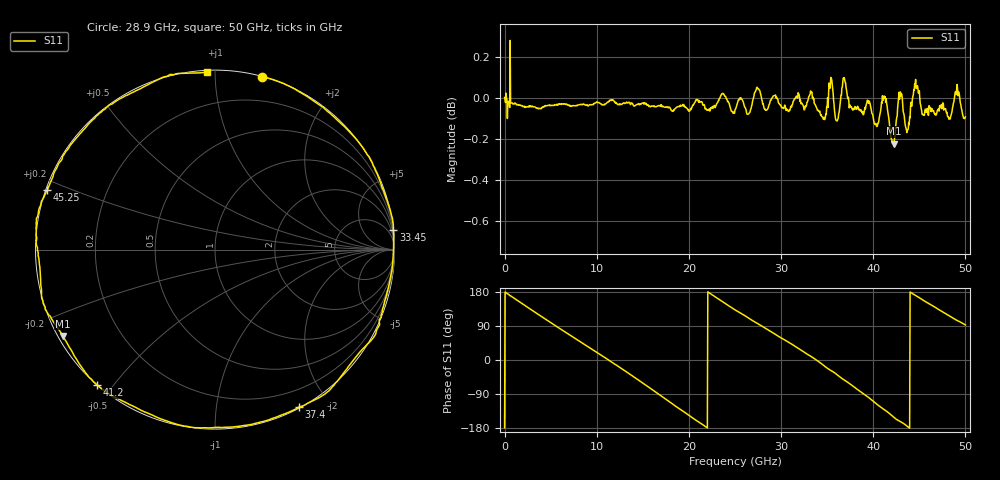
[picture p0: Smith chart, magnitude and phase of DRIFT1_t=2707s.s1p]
!Created with skrf (http://scikit-rf.org).
# Hz S RI R 50.0
!freq ReS11 ImS11
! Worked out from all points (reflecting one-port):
!   1001 points, 300 kHz to 50 GHz, reference 50 ohm
!   lowest |S11| = -0.2 dB at 42.2 GHz (marker M1), VSWR 77.89, Z = 0.687 - j13.2 ohm
!   phase of S11 starts at -179 deg and turns -808 deg over the sweep
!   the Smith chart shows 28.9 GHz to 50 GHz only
!   S11 on the Smith chart (normalised r, x): 28.9 GHz: 0.00, +1.31; 33.45 GHz: -0, +18; 37.4 GHz: 0.01, -1.67; 41.2 GHz: -0.00, -0.45; 45.25 GHz: 0.00, +0.17; 50 GHz: 0.01, +0.96
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300000  -1 -0.0131
1.65029e9  -0.8867 0.453
3.450279e9  -0.5499 0.8284
6.250262e9  0.1916 0.9778
9.600242e9  0.8915 0.4448
1.250022e10  0.9386 -0.3348
1.400022e10  0.7127 -0.6951
1.580021e10  0.2666 -0.9585
1.72502e10  -0.1609 -0.9818
1.875019e10  -0.5743 -0.8124
2.045018e10  -0.8929 -0.4407
2.180017e10  -0.9912 -0.0735
2.345016e10  -0.9238 0.3857
2.500015e10  -0.6693 0.7336
2.715014e10  -0.1832 0.9861
2.890013e10  0.261 0.9638
3.125011e10  0.7586 0.6458
3.34501e10  0.9944 0.1084
3.545009e10  0.8901 -0.4789
3.740008e10  0.4692 -0.8766
3.750008e10  0.4421 -0.8919
3.940006e10  -0.1263 -0.9905
4.120005e10  -0.6583 -0.754
4.220005e10  -0.8472 -0.4819
4.375004e10  -0.9802 -0.0648
4.525003e10  -0.9359 0.3316
4.765001e10  -0.5721 0.8117
5e10  -0.0438 0.9883
